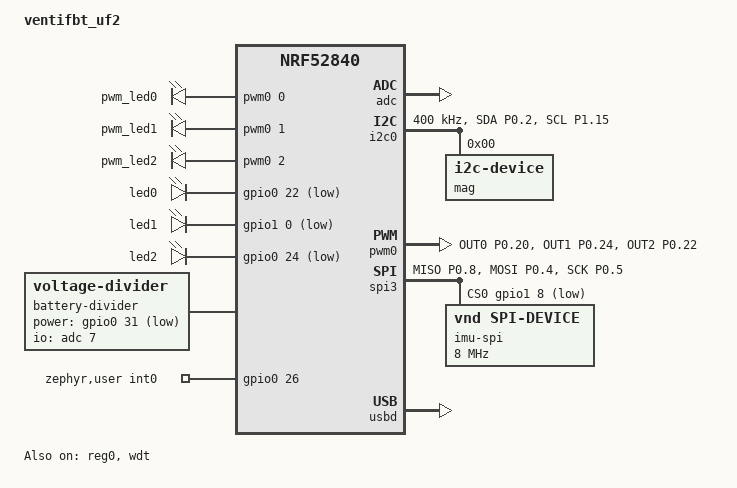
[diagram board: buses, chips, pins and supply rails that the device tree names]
// Copyright (c) 2024 Nordic Semiconductor ASA
// SPDX-License-Identifier: Apache-2.0

/dts-v1/;
#include <nordic/nrf52840_qiaa.dtsi>

//move to dtsi?
&pinctrl {
	i2c0_default: i2c0_default {
		group1 {
			psels = <NRF_PSEL(TWIM_SDA, 0, 2)>, <NRF_PSEL(TWIM_SCL, 1, 15)>;
			bias-disable;
		};
	};


	i2c0_sleep: i2c0_sleep {
		group1 {
			psels = <NRF_PSEL(TWIM_SDA, 0, 2)>, <NRF_PSEL(TWIM_SCL, 1, 15)>;
			bias-disable;
			low-power-enable;
		};
	};

	spi3_default: spi3_default {
		group1 {
			psels = <NRF_PSEL(SPIM_MISO, 0, 8)>,
					<NRF_PSEL(SPIM_MOSI, 0, 4)>,
					<NRF_PSEL(SPIM_SCK, 0, 5)>;
		};
	};

	spi3_sleep: spi3_sleep {
		group1 {
			psels = <NRF_PSEL(SPIM_MISO, 0, 8)>,
					<NRF_PSEL(SPIM_MOSI, 0, 4)>,
					<NRF_PSEL(SPIM_SCK, 0, 5)>;
			low-power-enable;
		};
	};

	pwm0_default: pwm0_default {

		group1 {
			psels = <NRF_PSEL(PWM_OUT0, 0, 20)>, // Red
					<NRF_PSEL(PWM_OUT1, 0, 24)>, // Green
					<NRF_PSEL(PWM_OUT2, 0, 22)>; // Blue
			nordic,invert;
			nordic,drive-mode = <NRF_DRIVE_S0S1>;
		};
	};

	pwm0_sleep: pwm0_sleep {
		group1 {
			psels = <NRF_PSEL(PWM_OUT0, 0, 20)>, // Red
					<NRF_PSEL(PWM_OUT1, 0, 24)>, // Green
					<NRF_PSEL(PWM_OUT2, 0, 22)>; // Blue
			low-power-enable;
			nordic,drive-mode = <NRF_DRIVE_S0S1>;
			bias-pull-up;
		};
	};
};
//end

/ {
	model = "ventifbt_uf2";
	compatible = "ventifbt_uf2";

	chosen {
		zephyr,sram = &sram0;
		zephyr,flash = &flash0;
		zephyr,console = &cdc_acm_uart0;
		zephyr,shell-uart = &cdc_acm_uart0;
	};

	pwmleds {
		compatible = "pwm-leds";
		pwm_led0: pwm_led_0 {
			pwms = <&pwm0 0 PWM_MSEC(1) PWM_POLARITY_INVERTED>; // Red
		};
		pwm_led1: pwm_led_1 {
			pwms = <&pwm0 1 PWM_MSEC(1) PWM_POLARITY_INVERTED>; // Green
		};
		pwm_led2: pwm_led_2 {
			pwms = <&pwm0 2 PWM_MSEC(1) PWM_POLARITY_INVERTED>; // Blue
		};
	};

	leds {
		compatible = "gpio-leds";
		led0: led_0 {
			gpios = <&gpio0 22 GPIO_ACTIVE_LOW>; // Red
		};
		led1: led_1 {
			gpios = <&gpio1 0 GPIO_ACTIVE_LOW>; // Green
		};
		led2: led_2 {
			gpios = <&gpio0 24 GPIO_ACTIVE_LOW>; // Blue
		};
	};

	// buttons {
	// 	compatible = "gpio-keys";
	// 	button0: button_0 {
	// 		gpios = <&gpio0 2 (GPIO_PULL_UP | GPIO_ACTIVE_LOW)>;
	// 		label = "Push button switch 0";
	// 	};
	// };

	aliases {
		// sw0 = &button0;
		pwm-led0 = &pwm_led0; // Red
		pwm-led1 = &pwm_led1; // Green
		pwm-led2 = &pwm_led2; // Blue
		led0 = &led0; // Red
		led1 = &led1; // Green
		led2 = &led2; // Blue
	};

	battery-divider {
		compatible = "voltage-divider";
		status = "okay";
		io-channels = <&adc 7>;
		output-ohms = <1000000>;
		full-ohms = <(1000000+1000000)>;
		power-gpios = <&gpio0 31 (GPIO_OPEN_DRAIN|GPIO_ACTIVE_LOW)>;
	};

	zephyr,user {
		int0-gpios = <&gpio0 26 0>;
		// clk-gpios = <&gpio0 4 GPIO_OPEN_DRAIN>;
	};

};

&reg0 {
	status = "okay";
};

&reg1 {
	regulator-initial-mode = <NRF5X_REG_MODE_DCDC>;
};

&adc {
	status = "okay";
};

&gpiote {
	status = "okay";
};

&gpio0 {
	status = "okay";
};

&gpio1 {
	status = "okay";
};

&i2c0 {
	compatible = "nordic,nrf-twim";
	status = "okay";
	zephyr,concat-buf-size = <255>;
	zephyr,flash-buf-max-size = <255>;
	clock-frequency = <I2C_BITRATE_FAST>;
	pinctrl-0 = <&i2c0_default>;
	pinctrl-1 = <&i2c0_sleep>;
	pinctrl-names = "default", "sleep";
		mag: mag@0 {
			compatible = "i2c-device";
			label = "mag";
			reg = <0x0>;
		};

};

&pwm0 {
	status = "okay";
	pinctrl-0 = <&pwm0_default>;
	pinctrl-1 = <&pwm0_sleep>;
	pinctrl-names = "default", "sleep";
};

&spi3 {
	compatible = "nordic,nrf-spim";
	status = "okay";
	pinctrl-0 = <&spi3_default>;
	pinctrl-1 = <&spi3_sleep>;
	pinctrl-names = "default", "sleep";
	cs-gpios = <&gpio1 8 GPIO_ACTIVE_LOW>;

	imu_spi: imu_spi@0 {
		compatible = "vnd,spi-device";
		label = "imu-spi";
		reg = <0>;
		spi-max-frequency = <8000000>;
	};
};


zephyr_udc0: &usbd {
	compatible = "nordic,nrf-usbd";
	status = "okay";
	cdc_acm_uart0: cdc_acm_uart0 {
		compatible = "zephyr,cdc-acm-uart";
	};
};

&wdt {
	status = "okay";
};

&cryptocell {
	status = "disabled";
};

&nfct {
	status = "disabled";
};
